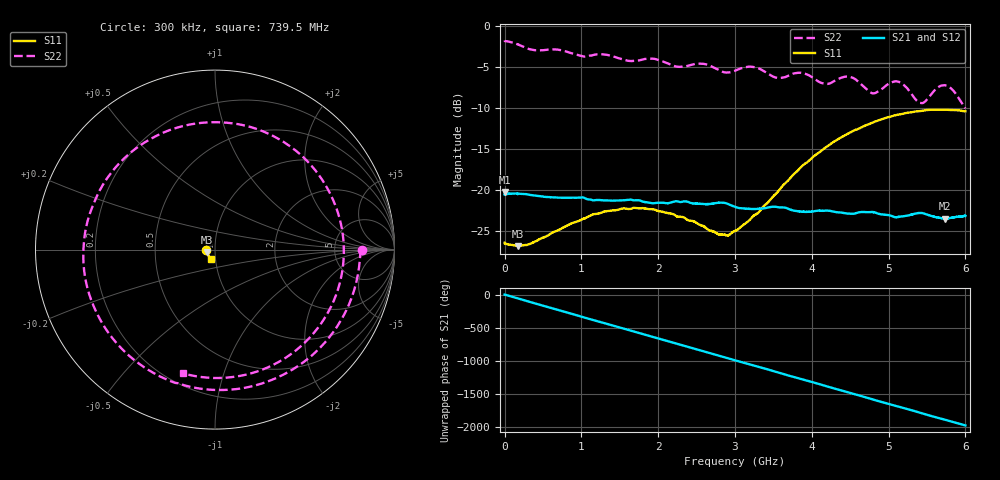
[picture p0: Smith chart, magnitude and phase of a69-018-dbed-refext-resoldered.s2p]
!  3/19/2021  22:34:24
! Ref Plane: 13.200 mm
# MHZ S MA R  50
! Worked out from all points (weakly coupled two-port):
!   10001 points, 300 kHz to 6 GHz, reference 50 ohm
!   highest |S21| = -20.23 dB at 300 kHz (marker M1); lowest = -23.5 dB at 5.733 GHz (marker M2)
!   lowest |S11| = -26.8 dB at 169.5 MHz (marker M3), VSWR 1.10, Z = 45.8 - j1.28 ohm
!   |S11| at or under -10 dB: start of sweep to end of sweep
!   |S22| runs from -10.0 to -1.8 dB; largest |S21 - S12| = 0.0021
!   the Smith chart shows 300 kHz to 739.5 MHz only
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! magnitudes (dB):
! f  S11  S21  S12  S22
! 300 kHz  -26.4  -20.2  -20.4  -1.8
! 169.5 MHz  -26.8  -20.4  -20.4  -2.2
! 1 GHz  -23.6  -20.9  -20.9  -3.6
! 1.538 GHz  -22.2  -21.2  -21.3  -4.1
! 2.001 GHz  -22.6  -21.5  -21.5  -4.1
! 2.256 GHz  -23.2  -21.4  -21.4  -5.0
! 2.6 GHz  -24.4  -21.7  -21.7  -4.6
! 2.79 GHz  -25.4  -21.5  -21.5  -5.4
! 3 GHz  -25.0  -22.0  -22.1  -5.5
! 3.213 GHz  -23.4  -22.3  -22.3  -5.0
! 3.547 GHz  -20.3  -22.1  -22.1  -6.3
! 3.835 GHz  -17.4  -22.6  -22.6  -5.7
! 4 GHz  -16.1  -22.6  -22.6  -6.2
! 4.193 GHz  -14.7  -22.5  -22.5  -7.1
! 4.505 GHz  -13.0  -22.9  -22.9  -6.2
! 4.798 GHz  -11.7  -22.7  -22.7  -8.2
! 5 GHz  -11.1  -23.1  -23.1  -7.1
! 5.156 GHz  -10.8  -23.2  -23.2  -6.9
! 5.428 GHz  -10.3  -22.8  -22.8  -9.4
! 5.733 GHz  -10.2  -23.5  -23.5  -7.2
! 5.838 GHz  -10.3  -23.3  -23.3  -7.8
! 6 GHz  -10.4  -23.1  -23.1  -10.0
